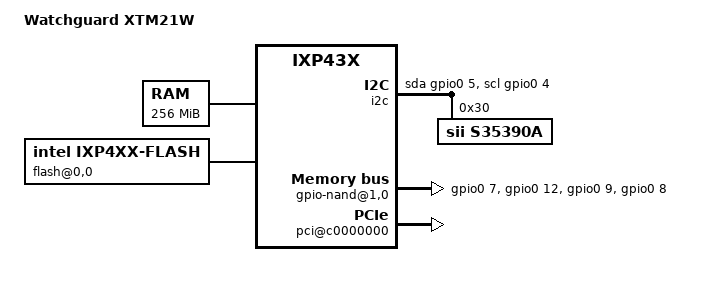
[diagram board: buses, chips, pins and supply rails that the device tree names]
// SPDX-License-Identifier: ISC
/*
 * Device Tree file for the Watchguard XTM21-W
 * firewall device.
 */

/dts-v1/;

#include "intel-ixp43x.dtsi"
#include <dt-bindings/input/input.h>

/ {
        model = "Watchguard XTM21W";
        compatible = "watchguard,xtm21w","intel,ixp43x";
        #address-cells = <1>;
        #size-cells = <1>;

        memory@0 {
                /*
                 * The Watchuard XTM21W has 256 MB of memory
                 */
                device_type = "memory";
                reg = <0x00000000 0x10000000>;
        };

        chosen {
                bootargs = "console=ttyS0,115200n8 rootwait";
                stdout-path = "uart0:115200n8";
        };

        aliases {
                serial0 = &uart0;
        };

        i2c {
            compatible = "i2c-gpio";
            /*
             * Watchguard vendor kernel used IRQ 5 for SDA and IRQ 4 for SCL
            */
            sda-gpios = <&gpio0 5 (GPIO_ACTIVE_HIGH|GPIO_OPEN_DRAIN)>;
            scl-gpios = <&gpio0 4 (GPIO_ACTIVE_HIGH|GPIO_OPEN_DRAIN)>;
            #address-cells = <1>;
            #size-cells = <0>;

            /* RTC: Seiko Instruments S-35390A */
            s35390a@30 {
                compatible = "sii,s35390a";
                reg = <0x30>;
            };
        };

        soc {
                gpio0: gpio@c8004000 {
                    compatible = "intel,ixp4xx-gpio";
                    reg = <0xc8004000 0x1000>;
                    gpio-controller;
                    #gpio-cells = <2>;
                    interrupt-controller;
                    #interrupt-cells = <2>;
                };

                interrupt-controller@c8003000 {
                        compatible = "intel,ixp43x-interrupt";
                };

                bus@c4000000 {
                        compatible = "intel,ixp43x-expansion-bus-controller", "syscon";
                        /* Uses at least up to 0x230 */
                        reg = <0xc4000000 0x1000>;

                        /* 16 MB NOR FLASH */
                        flash@0,0 {
                                compatible = "intel,ixp4xx-flash", "cfi-flash";
                                bank-width = <2>;
                                /* Enable writes on the expansion bus */
                                intel,ixp4xx-eb-write-enable = <1>;
                                /* 16 MB of Flash mapped in at CS0 */
                                reg = <0 0x00000000 0x1000000>;

                                partitions {
                                        compatible = "redboot-fis";
                                        /*
                                         * The stock Watchguard Redboot flash layout is staticly defined.
                                         * Running 'fis init' will setup 3 partitions with different erasebock sizes.
                                         * 0x000000000000-0x000000080000 : "RedBoot"
                                         * 0x0000000f0000-0x0000000ff000 : "FIS directory"
                                         * 0x0000000ff000-0x000000100000 : "RedBoot config"
                                         *
                                         * dev:  size   erasesize  name
                                         * mtd0: 00080000 00010000 "RedBoot"
                                         * mtd1: 0000f000 00008000 "FIS directory"
                                         * mtd2: 00001000 00004000 "RedBoot config"
                                         */
                                        fis-index-block = <0xf>;
                                };
                        };
                        /* Flash memory defined per-variant */
                        gpio-nand@1,0 {
                            /* Some designs have a NAND on CS1 enable it here if present */
                            status = "ok";

                            /*
                            * 
                            * 256MB of Samsung GPIO controlled SLC NAND 
                            * 
                            */
                            compatible = "gpio-control-nand";

                            /* Expansion bus set-up */
                            intel,ixp4xx-eb-t1 = <0>;
                            intel,ixp4xx-eb-t2 = <0>;
                            intel,ixp4xx-eb-t3 = <1>; // 1 cycle extra strobe phase
                            intel,ixp4xx-eb-t4 = <0>;
                            intel,ixp4xx-eb-t5 = <0>;
                            intel,ixp4xx-eb-cycle-type = <0>; // Intel cycle type
                            intel,ixp4xx-eb-byte-access-on-halfword = <0>;
                            intel,ixp4xx-eb-mux-address-and-data = <0>;
                            intel,ixp4xx-eb-ahb-split-transfers = <0>;
                            intel,ixp4xx-eb-write-enable = <1>;
                            intel,ixp4xx-eb-byte-access = <1>;

                            /* 512 bytes memory window */
                            reg = <1 0x00000000 0x200>;
                            nand-on-flash-bbt;
                            nand-ecc-mode = "soft_bch";
                            nand-ecc-step-size = <512>;
                            nand-ecc-strength = <4>;

                            #address-cells = <1>;
                            #size-cells = <1>;
                            gpios = <&gpio0  7 GPIO_ACTIVE_HIGH>,  /* RDY */
                                    <&gpio0 12 GPIO_ACTIVE_HIGH>,  /* nCE */
                                    <&gpio0  9 GPIO_ACTIVE_HIGH>,  /* ALE */
                                    <&gpio0  8 GPIO_ACTIVE_HIGH>,  /* CLE */
                                    <0>;                           /* nWP */

                            label = "ixp400 NAND";

                            partitions {
                                compatible = "fixed-partitions";
                                #address-cells = <1>;
                                #size-cells = <1>;

                                fs@0 {
                                    label = "ixp400 NAND FS 0";
                                    reg = <0x0 0x800000>;
                                };
                                fs@800000 {
                                    label = "ixp400 NAND FS 1";
                                    reg = <0x800000 0x0>;
                                };
                            };
                        };
                };

                pci@c0000000 {
                    status = "ok";
                    /*
                    * Watchguard kernel did apply the PCI prefetch workaround (eg hammering errata)
                    * -> PCI: IXP43x Richland silicon detected - PCI Non-Prefetch Workaround Enabled
                    * Hence we set it to ixp42x-pci compatible to enforce this, despite being ixp43x
                    * FIXME: This workaround may not be required ?
                    */
                    compatible = "intel,ixp42x-pci";
                    /*
                    * One slot only for WiFi
                    */
                    #interrupt-cells = <1>;
                    interrupt-map-mask = <0xf800 0 0 7>;
                    interrupt-map =
                    /* IDSEL 1 */
                    <0x8000 0 0 1 &gpio0 1  IRQ_TYPE_LEVEL_LOW>; /* INT A on slot 1 is irq 1 */
                };

       };
};
